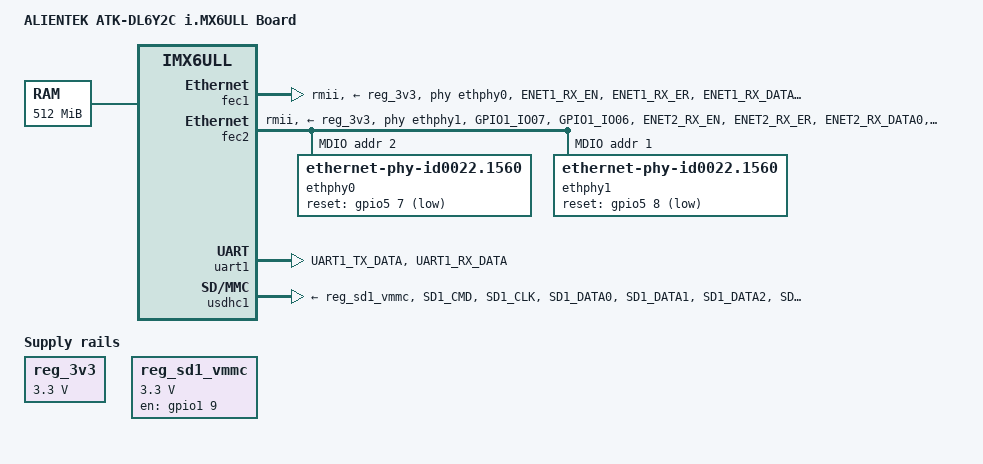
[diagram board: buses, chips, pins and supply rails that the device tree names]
// SPDX-License-Identifier: (GPL-2.0 OR MIT)
/*
 * Device tree for the ALIENTEK ATK-DL6Y2C i.MX6ULL board.
 */

/dts-v1/;

#include "imx6ull.dtsi"

/ {
	model = "ALIENTEK ATK-DL6Y2C i.MX6ULL Board";
	compatible = "alientek,imx6ull-atk-dl6y2c", "fsl,imx6ull";

	chosen {
		stdout-path = &uart1;
	};

	memory@80000000 {
		device_type = "memory";
		reg = <0x80000000 0x20000000>;
	};

	reg_3v3: regulator-3v3 {
		compatible = "regulator-fixed";
		regulator-name = "3v3";
		regulator-min-microvolt = <3300000>;
		regulator-max-microvolt = <3300000>;
		regulator-always-on;
		regulator-boot-on;
	};

	reg_sd1_vmmc: regulator-sd1-vmmc {
		compatible = "regulator-fixed";
		regulator-name = "VSD_3V3";
		regulator-min-microvolt = <3300000>;
		regulator-max-microvolt = <3300000>;
		gpio = <&gpio1 9 GPIO_ACTIVE_HIGH>;
		enable-active-high;
		regulator-boot-on;
	};
};

&clks {
	assigned-clocks = <&clks IMX6UL_CLK_PLL3_PFD2>;
	assigned-clock-rates = <320000000>;
};

&fec1 {
	pinctrl-names = "default";
	pinctrl-0 = <&pinctrl_enet1>;
	phy-mode = "rmii";
	phy-handle = <&ethphy0>;
	phy-supply = <&reg_3v3>;
	status = "okay";
};

&fec2 {
	pinctrl-names = "default";
	pinctrl-0 = <&pinctrl_enet2>;
	phy-mode = "rmii";
	phy-handle = <&ethphy1>;
	phy-supply = <&reg_3v3>;
	status = "okay";

	mdio {
		#address-cells = <1>;
		#size-cells = <0>;

		ethphy0: ethernet-phy@2 {
			compatible = "ethernet-phy-id0022.1560";
			reg = <2>;
			pinctrl-names = "default";
			pinctrl-0 = <&pinctrl_enet1_rst>;
			reset-gpios = <&gpio5 7 GPIO_ACTIVE_LOW>;
			reset-assert-us = <10000>;
			reset-deassert-us = <30000>;
			micrel,led-mode = <1>;
			clocks = <&clks IMX6UL_CLK_ENET_REF>;
			clock-names = "rmii-ref";
		};

		ethphy1: ethernet-phy@1 {
			compatible = "ethernet-phy-id0022.1560";
			reg = <1>;
			pinctrl-names = "default";
			pinctrl-0 = <&pinctrl_enet2_rst>;
			reset-gpios = <&gpio5 8 GPIO_ACTIVE_LOW>;
			reset-assert-us = <10000>;
			reset-deassert-us = <30000>;
			micrel,led-mode = <1>;
			clocks = <&clks IMX6UL_CLK_ENET2_REF>;
			clock-names = "rmii-ref";
		};
	};
};

&snvs_poweroff {
	status = "okay";
};

&uart1 {
	pinctrl-names = "default";
	pinctrl-0 = <&pinctrl_uart1>;
	status = "okay";
};

&usdhc1 {
	pinctrl-names = "default", "state_100mhz", "state_200mhz";
	pinctrl-0 = <&pinctrl_usdhc1>;
	pinctrl-1 = <&pinctrl_usdhc1_100mhz>;
	pinctrl-2 = <&pinctrl_usdhc1_200mhz>;
	cd-gpios = <&gpio1 19 GPIO_ACTIVE_LOW>;
	keep-power-in-suspend;
	wakeup-source;
	vmmc-supply = <&reg_sd1_vmmc>;
	status = "okay";
};

&wdog1 {
	pinctrl-names = "default";
	pinctrl-0 = <&pinctrl_wdog>;
	fsl,ext-reset-output;
};

&iomuxc {
	pinctrl_enet1: enet1grp {
		fsl,pins = <
			MX6UL_PAD_ENET1_RX_EN__ENET1_RX_EN	0x1b0b0
			MX6UL_PAD_ENET1_RX_ER__ENET1_RX_ER	0x1b0b0
			MX6UL_PAD_ENET1_RX_DATA0__ENET1_RDATA00	0x1b0b0
			MX6UL_PAD_ENET1_RX_DATA1__ENET1_RDATA01	0x1b0b0
			MX6UL_PAD_ENET1_TX_EN__ENET1_TX_EN	0x1b0b0
			MX6UL_PAD_ENET1_TX_DATA0__ENET1_TDATA00	0x1b0b0
			MX6UL_PAD_ENET1_TX_DATA1__ENET1_TDATA01	0x1b0b0
			MX6UL_PAD_ENET1_TX_CLK__ENET1_REF_CLK1	0x4001b031
		>;
	};

	pinctrl_enet2: enet2grp {
		fsl,pins = <
			MX6UL_PAD_GPIO1_IO07__ENET2_MDC		0x1b0b0
			MX6UL_PAD_GPIO1_IO06__ENET2_MDIO	0x1b0b0
			MX6UL_PAD_ENET2_RX_EN__ENET2_RX_EN	0x1b0b0
			MX6UL_PAD_ENET2_RX_ER__ENET2_RX_ER	0x1b0b0
			MX6UL_PAD_ENET2_RX_DATA0__ENET2_RDATA00	0x1b0b0
			MX6UL_PAD_ENET2_RX_DATA1__ENET2_RDATA01	0x1b0b0
			MX6UL_PAD_ENET2_TX_EN__ENET2_TX_EN	0x1b0b0
			MX6UL_PAD_ENET2_TX_DATA0__ENET2_TDATA00	0x1b0b0
			MX6UL_PAD_ENET2_TX_DATA1__ENET2_TDATA01	0x1b0b0
			MX6UL_PAD_ENET2_TX_CLK__ENET2_REF_CLK2	0x4001b031
		>;
	};

	pinctrl_enet1_rst: enet1rstgrp {
		fsl,pins = <
			MX6UL_PAD_SNVS_TAMPER7__GPIO5_IO07	0x0b0b0
		>;
	};

	pinctrl_enet2_rst: enet2rstgrp {
		fsl,pins = <
			MX6UL_PAD_SNVS_TAMPER8__GPIO5_IO08	0x0b0b0
		>;
	};

	pinctrl_uart1: uart1grp {
		fsl,pins = <
			MX6UL_PAD_UART1_TX_DATA__UART1_DCE_TX	0x1b0b1
			MX6UL_PAD_UART1_RX_DATA__UART1_DCE_RX	0x1b0b1
		>;
	};

	pinctrl_usdhc1: usdhc1grp {
		fsl,pins = <
			MX6UL_PAD_SD1_CMD__USDHC1_CMD		0x17059
			MX6UL_PAD_SD1_CLK__USDHC1_CLK		0x10059
			MX6UL_PAD_SD1_DATA0__USDHC1_DATA0	0x17059
			MX6UL_PAD_SD1_DATA1__USDHC1_DATA1	0x17059
			MX6UL_PAD_SD1_DATA2__USDHC1_DATA2	0x17059
			MX6UL_PAD_SD1_DATA3__USDHC1_DATA3	0x17059
			MX6UL_PAD_UART1_RTS_B__GPIO1_IO19	0x17059
			MX6UL_PAD_GPIO1_IO05__USDHC1_VSELECT	0x17059
			MX6UL_PAD_GPIO1_IO09__GPIO1_IO09	0x17059
		>;
	};

	pinctrl_usdhc1_100mhz: usdhc1-100mhz-grp {
		fsl,pins = <
			MX6UL_PAD_SD1_CMD__USDHC1_CMD		0x170b9
			MX6UL_PAD_SD1_CLK__USDHC1_CLK		0x100b9
			MX6UL_PAD_SD1_DATA0__USDHC1_DATA0	0x170b9
			MX6UL_PAD_SD1_DATA1__USDHC1_DATA1	0x170b9
			MX6UL_PAD_SD1_DATA2__USDHC1_DATA2	0x170b9
			MX6UL_PAD_SD1_DATA3__USDHC1_DATA3	0x170b9
		>;
	};

	pinctrl_usdhc1_200mhz: usdhc1-200mhz-grp {
		fsl,pins = <
			MX6UL_PAD_SD1_CMD__USDHC1_CMD		0x170f9
			MX6UL_PAD_SD1_CLK__USDHC1_CLK		0x100f9
			MX6UL_PAD_SD1_DATA0__USDHC1_DATA0	0x170f9
			MX6UL_PAD_SD1_DATA1__USDHC1_DATA1	0x170f9
			MX6UL_PAD_SD1_DATA2__USDHC1_DATA2	0x170f9
			MX6UL_PAD_SD1_DATA3__USDHC1_DATA3	0x170f9
		>;
	};

	pinctrl_wdog: wdoggrp {
		fsl,pins = <
			MX6UL_PAD_LCD_RESET__WDOG1_WDOG_ANY	0x30b0
		>;
	};
};
